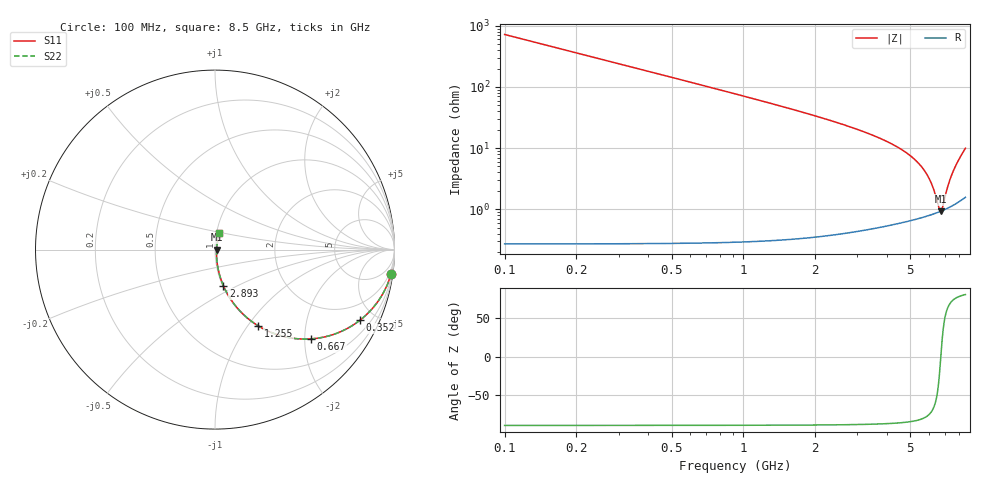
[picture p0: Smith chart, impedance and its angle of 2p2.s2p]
!Murata Part Number: GRM0335C1E2R2BA01
!These Parameters are Measured in Series Mode Connection
!  o--ll--o
!Port1  Port2
!  o------o
!Operation Temp=25[degC], DC Bias Voltage=0[V]
!Freq. Start=100[MHz] Stop=8.5[GHz], 401[Steps]
!Data Generated on Jan 10, 2017
# Hz S RI R 50
!Freq.(Hz) S11(Real) S11(Imag) S21(Real) S21(Imag) S12(Real) S12(Imag) S22(Real) S22(Imag)
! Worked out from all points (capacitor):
!   401 points, 100 MHz to 8.5 GHz, reference 50 ohm
!   read as one part in series: C = 2.2 pF near 142 MHz
!   lowest |Z| = 925 mohm at 6.694 GHz (marker M1)
!   series resonance near 6.707 GHz, so ESL is about 260 pH
!   S11 on the Smith chart (normalised r, x): 100 MHz: 1, -14; 352 MHz: 1.01, -4.10; 667 MHz: 1.01, -2.15; 1.255 GHz: 1.01, -1.12; 2.893 GHz: 1.01, -0.43; 8.5 GHz: 1.03, +0.20
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1e8  0.9812 -0.1356  0.0188 0.1356  0.0188 0.1356  0.9812 -0.1356
2.26e8  0.9107 -0.2847  0.0893 0.2847  0.0893 0.2847  0.9107 -0.2847
3.52e8  0.8076 -0.3935  0.1924 0.3935  0.1924 0.3935  0.8076 -0.3935
4.99e8  0.6754 -0.4673  0.3246 0.4673  0.3246 0.4673  0.6754 -0.4673
6.67e8  0.5365 -0.4974  0.4635 0.4974  0.4635 0.4974  0.5365 -0.4974
9.4e8  0.3652 -0.4796  0.6348 0.4796  0.6348 0.4796  0.3652 -0.4796
1.255e9  0.2403 -0.4246  0.7597 0.4246  0.7597 0.4246  0.2403 -0.4246
1.507e9  0.1769 -0.3782  0.8231 0.3782  0.8231 0.3782  0.1769 -0.3782
2.074e9  0.0967 -0.2901  0.9033 0.2901  0.9033 0.2901  0.0967 -0.2901
2.893e9  0.0469 -0.2018  0.9531 0.2018  0.9531 0.2018  0.0469 -0.2018
2.914e9  0.0461 -0.2  0.9539 0.2  0.9539 0.2  0.0461 -0.2
4.3e9  0.0174 -0.1076  0.9826 0.1076  0.9826 0.1076  0.0174 -0.1076
5.119e9  0.0113 -0.068  0.9887 0.068  0.9887 0.068  0.0113 -0.068
5.707e9  0.0092 -0.0424  0.9908 0.0424  0.9908 0.0424  0.0092 -0.0424
6.148e9  0.00867 -0.0238  0.9913 0.0238  0.9913 0.0238  0.00867 -0.0238
6.589e9  0.00895 -0.0051  0.991 0.0051  0.991 0.0051  0.00895 -0.0051
6.694e9  0.00915 -0.000571  0.9909 0.000571  0.9909 0.000571  0.00915 -0.000571
6.799e9  0.00939 0.004  0.9906 -0.004  0.9906 -0.004  0.00939 0.004
7.114e9  0.0105 0.0181  0.9895 -0.0181  0.9895 -0.0181  0.0105 0.0181
7.366e9  0.0118 0.0299  0.9882 -0.0299  0.9882 -0.0299  0.0118 0.0299
7.66e9  0.0138 0.0445  0.9862 -0.0445  0.9862 -0.0445  0.0138 0.0445
8.5e9  0.0245 0.0943  0.9755 -0.0943  0.9755 -0.0943  0.0245 0.0943
